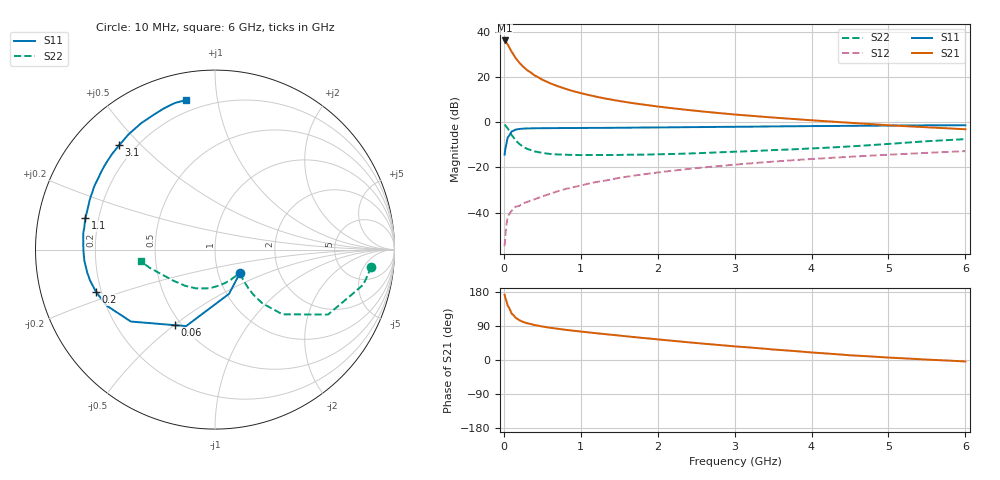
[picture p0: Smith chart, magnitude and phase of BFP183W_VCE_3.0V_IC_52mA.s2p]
! Infineon Technologies  Discrete & RF Semiconductors
! BFP183W
! VCE =  3.0 V,  IC =  52 mA
! Common Emitter S-Parameters:  Jan 2017
# GHz  S  MA  R  50
!  f  S11  S21  S12  S22
! GHz  MAG  ANG  MAG  ANG  MAG  ANG  MAG  ANG
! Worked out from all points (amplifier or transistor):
!   77 points, 10 MHz to 6 GHz, reference 50 ohm
!   highest |S21| = 36.1 dB at 10 MHz (marker M1)
!   |S21| within 3 dB of that: start of sweep to 69.43 MHz
!   unconditionally stable (mu >= 1): 413.9 MHz to 3.955 GHz
!   at 130 MHz: K = 0.51, MSG = 33.9 dB, |S12| = -38.1 dB
!   at 2.2 GHz: K = 1.15, MAG = 11.4 dB, |S12| = -21.5 dB
!   at 6 GHz: K = 0.91, MSG = 4.8 dB, |S12| = -12.8 dB
!   S11 on the Smith chart (normalised r, x): 10 MHz: 1.27, -0.34; 60 MHz: 0.46, -0.50; 200 MHz: 0.18, -0.17; 1.1 GHz: 0.15, +0.12; 3.1 GHz: 0.14, +0.43; 6 GHz: 0.14, +0.82
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0.01  0.1902 -42.8  63.91 172.4  0.0018 85.7  0.8767 -6.3
0.02  0.2584 -72.3  62.3 163.7  0.0031 86.0  0.8492 -13.3
0.04  0.3751 -102.5  54.64 151.0  0.0063 63.1  0.7599 -23.8
0.05  0.4556 -110.7  52.01 143.5  0.008 58.8  0.7264 -29.9
0.06  0.4763 -117.9  48.46 140.5  0.0086 56.4  0.6827 -32.0
0.1  0.617 -139.5  36.23 122.8  0.0109 49.2  0.5209 -43.8
0.15  0.6798 -152.7  26.63 112.1  0.0134 45.4  0.3994 -48.6
0.2  0.7036 -160.5  20.71 105.2  0.014 49.7  0.3297 -49.6
0.25  0.7169 -166.0  16.88 100.5  0.0161 49.7  0.2854 -49.2
0.3  0.7231 -169.7  14.2 97.2  0.017 50.4  0.2573 -48.3
0.4  0.7306 -175.2  10.8 92.1  0.0196 55.2  0.2246 -46.6
0.5  0.7326 -178.9  8.666 88.4  0.0227 58.5  0.2083 -45.6
0.6  0.7344 177.9  7.25 85.2  0.0259 60.0  0.1974 -45.5
0.7  0.7366 175.3  6.222 82.5  0.0295 63.9  0.1919 -45.4
0.9  0.7384 170.4  4.838 77.4  0.0362 66.2  0.1875 -47.8
1.1  0.743 166.4  3.979 72.9  0.0434 67.8  0.1869 -50.7
1.5  0.7502 158.8  2.926 64.5  0.0584 68.0  0.1876 -59.1
2.1  0.7633 148.1  2.111 52.5  0.0805 66.5  0.1953 -75.3
3.1  0.7892 132.6  1.427 34.5  0.1182 61.0  0.224 -105.2
4.1  0.8171 119.0  1.068 18.5  0.1562 54.2  0.266 -132.7
5.1  0.8392 108.6  0.833 5.4  0.1934 46.8  0.3379 -157.4
6  0.8488 100.8  0.694 -3.9  0.2278 39.8  0.4197 -171.1
